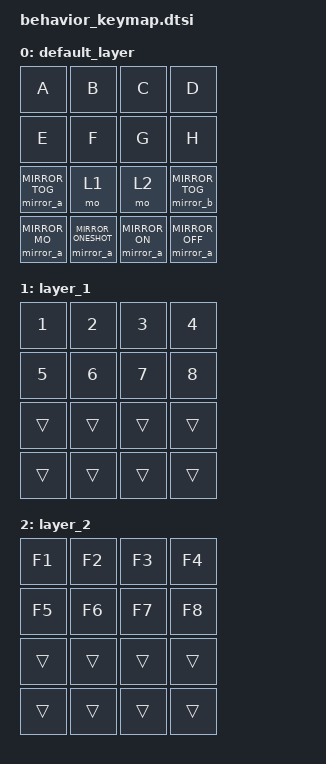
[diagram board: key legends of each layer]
#include <dt-bindings/zmk/keys.h>
#include <dt-bindings/zmk/mirror.h>
#include <behaviors.dtsi>
#include <dt-bindings/zmk/kscan_mock.h>

/*
 * Fork: mirror mode (PATCH_MIRROR_MODE.md).
 *
 *  pos   0  1  2  3      base: A B C D     layer 1: N1 N2 N3 N4   layer 2: F1 F2 F3 F4
 *        4  5  6  7            E F G H              N5 N6 N7 N8            F5 F6 F7 F8
 *        8  9 10 11      mirror_a TOG, &mo 1, &mo 2, mirror_b TOG
 *       12 13 14 15      mirror_a MO, ONESHOT, ON, OFF
 *
 * mirror_a: reflects rows 0 and 1, rows 2-3 map to themselves. Group "base" (layer 0)
 *           excludes 4; group "one" (layer 1) excludes 0. Layer 2 is not listed.
 *           enter/exit = F13/F14 so the edges show in the key log.
 * mirror_b: 0 and 1 both act as 3 (a repeated entry), layer 0 only; enter/exit = F15/F16.
 */
&kscan {
    rows = <4>;
    columns = <4>;
};

/ {
    behaviors {
        mirror_a: mirror_a {
            compatible = "zmk,behavior-mirror";
            #binding-cells = <1>;
            overlay-id = <1>;
            mirror-positions = <3 2 1 0  7 6 5 4  8 9 10 11  12 13 14 15>;
            enter = <&kp F13>;
            exit = <&kp F14>;
            base {
                layers = <0>;
                excluded-positions = <4>;
            };
            one {
                layers = <1>;
                excluded-positions = <0>;
            };
        };

        mirror_b: mirror_b {
            compatible = "zmk,behavior-mirror";
            #binding-cells = <1>;
            overlay-id = <2>;
            mirror-positions = <3 3 2 1  4 5 6 7  8 9 10 11  12 13 14 15>;
            enter = <&kp F15>;
            exit = <&kp F16>;
            base {
                layers = <0>;
            };
        };
    };

    keymap {
        compatible = "zmk,keymap";

        default_layer {
            bindings = <
                &kp A                &kp B                   &kp C                &kp D
                &kp E                &kp F                   &kp G                &kp H
                &mirror_a MIRROR_TOG &mo 1                   &mo 2                &mirror_b MIRROR_TOG
                &mirror_a MIRROR_MO  &mirror_a MIRROR_ONESHOT &mirror_a MIRROR_ON &mirror_a MIRROR_OFF>;
        };

        layer_1 {
            bindings = <
                &kp N1 &kp N2 &kp N3 &kp N4
                &kp N5 &kp N6 &kp N7 &kp N8
                &trans &trans &trans &trans
                &trans &trans &trans &trans>;
        };

        layer_2 {
            bindings = <
                &kp F1 &kp F2 &kp F3 &kp F4
                &kp F5 &kp F6 &kp F7 &kp F8
                &trans &trans &trans &trans
                &trans &trans &trans &trans>;
        };
    };
};
